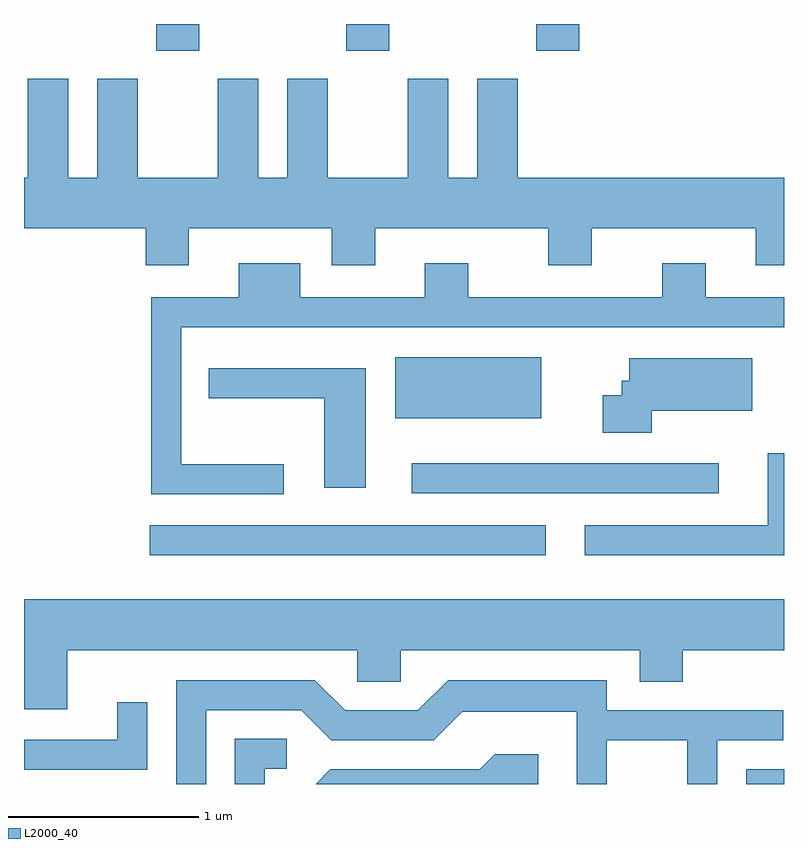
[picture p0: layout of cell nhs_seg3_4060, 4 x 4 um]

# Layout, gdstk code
import gdstk
lib = gdstk.Library(unit=1e-6, precision=1e-09)
def R(c, l, rs):  # rectangles x0, y0, x1, y1
    for r in rs: c.add(gdstk.rectangle(r[:2], r[2:], *l))
def A(c, l, x, y, w, h, nx, ny, dx, dy):  # array of equal rectangles
    R(c, l, [(x+i*dx, y+j*dy, x+i*dx+w, y+j*dy+h) for i in range(nx) for j in range(ny)])
def P(c, l, *ps):  # polygons
    for p in ps: c.add(gdstk.Polygon(p, *l))
L2000_40 = (2000, 40)

nhs_seg3_4060 = lib.new_cell('nhs_seg3_4060')
A(nhs_seg3_4060, L2000_40, 304.306, 1215.751, 0.228, 0.141, 3, 1, 1, 0)
R(nhs_seg3_4060, L2000_40, [(307.411,1211.892,307.611,1211.969), (304.273,1213.096,306.358,1213.254), (305.653,1213.421,307.268,1213.579), (305.566,1213.816,306.334,1214.139)])
P(nhs_seg3_4060, L2000_40, [(303.996,1215.604),(303.996,1215.084),(303.844,1215.084),(303.844,1215.604),(303.631,1215.604),(303.631,1215.084),(303.611,1215.084),(303.611,1214.816),(304.251,1214.816),(304.251,1214.621),(304.479,1214.621),(304.479,1214.816),(305.231,1214.816),(305.231,1214.621),(305.459,1214.621),(305.459,1214.816),(306.371,1214.816),(306.371,1214.621),(306.599,1214.621),(306.599,1214.816),(307.461,1214.816),(307.461,1214.621),(307.611,1214.621),(307.611,1215.084),(306.209,1215.084),(306.209,1215.604),(305.996,1215.604),(305.996,1215.084),(305.844,1215.084),(305.844,1215.604),(305.631,1215.604),(305.631,1215.084),(305.209,1215.084),(305.209,1215.604),(304.996,1215.604),(304.996,1215.084),(304.844,1215.084),(304.844,1215.604),(304.631,1215.604),(304.631,1215.084),(304.209,1215.084),(304.209,1215.604)],
  [(304.978,1213.574),(304.439,1213.574),(304.439,1214.296),(307.611,1214.296),(307.611,1214.454),(307.199,1214.454),(307.199,1214.634),(306.971,1214.634),(306.971,1214.454),(305.949,1214.454),(305.949,1214.634),(305.721,1214.634),(305.721,1214.454),(305.064,1214.454),(305.064,1214.634),(304.741,1214.634),(304.741,1214.454),(304.281,1214.454),(304.281,1213.416),(304.978,1213.416)],
  [(306.914,1213.856),(307.444,1213.856),(307.444,1214.134),(306.796,1214.134),(306.796,1214.014),(306.756,1214.014),(306.756,1213.939),(306.656,1213.939),(306.656,1213.741),(306.914,1213.741)],
  [(305.409,1214.079),(304.583,1214.079),(304.583,1213.921),(305.191,1213.921),(305.191,1213.451),(305.409,1213.451)],
  [(307.611,1213.634),(307.526,1213.634),(307.526,1213.254),(306.563,1213.254),(306.563,1213.096),(307.611,1213.096)],
  [(303.839,1212.596),(305.366,1212.596),(305.366,1212.431),(305.594,1212.431),(305.594,1212.596),(306.851,1212.596),(306.851,1212.431),(307.079,1212.431),(307.079,1212.596),(307.611,1212.596),(307.611,1212.864),(303.611,1212.864),(303.611,1212.286),(303.839,1212.286)],
  [(304.569,1212.281),(305.069,1212.281),(305.229,1212.121),(305.767,1212.121),(305.917,1212.271),(306.521,1212.271),(306.521,1211.892),(306.679,1211.892),(306.679,1212.121),(307.101,1212.121),(307.101,1211.892),(307.259,1211.892),(307.259,1212.121),(307.608,1212.121),(307.608,1212.279),(306.679,1212.279),(306.679,1212.439),(305.844,1212.439),(305.684,1212.279),(305.302,1212.279),(305.142,1212.439),(304.411,1212.439),(304.411,1211.892),(304.569,1211.892)],
  [(304.259,1212.323),(304.101,1212.323),(304.101,1212.124),(303.611,1212.124),(303.611,1211.966),(304.259,1211.966)],
  [(304.879,1211.971),(304.993,1211.971),(304.993,1212.129),(304.721,1212.129),(304.721,1211.892),(304.879,1211.892)],
  [(306.318,1212.049),(306.089,1212.049),(306.009,1211.969),(305.224,1211.969),(305.147,1211.892),(306.318,1211.892)])

lib.write_gds('nhs_seg3_4060.gds')
